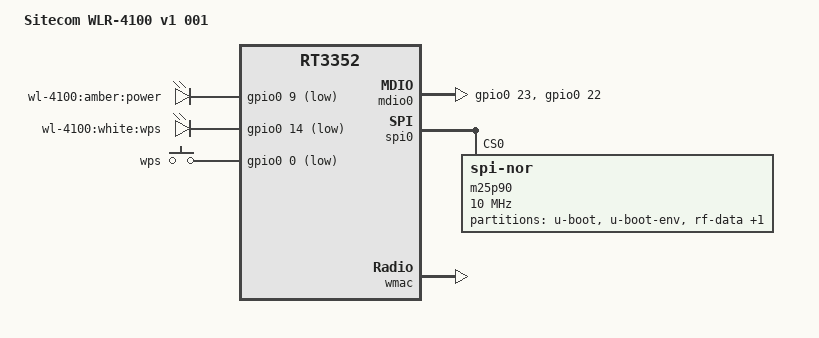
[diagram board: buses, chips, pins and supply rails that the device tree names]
/dts-v1/;

#include "rt3352.dtsi"

#include <dt-bindings/gpio/gpio.h>
#include <dt-bindings/input/input.h>

/ {
        compatible = "sitecom,wlr-4100-1001", "ralink,rt3352-soc";
        model = "Sitecom WLR-4100 v1 001";

        aliases {
                led-boot = &led_power;
                led-failsafe = &led_power;
                led-running = &led_power;
                led-upgrade = &led_power;
                mdio-gpio0 = &mdio0;
        };

        mdio0: mdio {
                compatible = "virtual,mdio-gpio";
                #address-cells = <1>;
                #size-cells = <0>;
                gpios = <&gpio0 23 GPIO_ACTIVE_HIGH &gpio0 22 GPIO_ACTIVE_HIGH>;
        };

        leds {
                compatible = "gpio-leds";

                led_power: power {
                        label = "wl-4100:amber:power";
                        gpios = <&gpio0 9 GPIO_ACTIVE_LOW>;
                };

                led_wps: wps {
                        label = "wl-4100:white:wps";
                        gpios = <&gpio0 14 GPIO_ACTIVE_LOW>;
                };
        };

        keys {
                compatible = "gpio-keys-polled";
                poll-interval = <20>;

                wps {
                        label = "wps";
                        gpios = <&gpio0 0 GPIO_ACTIVE_LOW>;
                        linux,code = <KEY_WPS_BUTTON>;
                };

        };

        rtl8367rb {
                compatible = "realtek,rtl8367b", "rtl8367b";
                mii-bus = <&mdio0>;
                realtek,extif1 = <0 0 1 1 1 1 1 1 2>;
                cpu_port = <6>;
        };
};

&spi0 {
        status = "okay";

        m25p90@0 {
                compatible = "jedec,spi-nor";
                reg = <0>;
                spi-max-frequency = <10000000>;

                partitions {
                        compatible = "fixed-partitions";
                        #address-cells = <1>;
                        #size-cells = <1>;

                        partition@0 {
                                label = "u-boot";
                                reg = <0x0 0x30000>;
                                read-only;
                        };

                        partition@30000 {
                                label = "u-boot-env";
                                reg = <0x30000 0x10000>;
                        };

                        factory: partition@40000 {
                                label = "rf-data";
                                reg = <0x40000 0x10000>;
                                read-only;
                        };

                        partition@50000 {
                                compatible = "denx,uimage";
                                label = "kernel";
                                reg = <0x50000 0x7b0000>;
                        };

                };
        };
};

&pinctrl {
        state_default: pinctrl0 {
                gpio {
                        ralink,group = "i2c", "jtag", "uartf", "mdio";
                        ralink,function = "gpio";
                };
        };
};

&ethernet {
        mtd-mac-address = <&factory 0x4>;
        pinctrl-names = "default";
        pinctrl-0 = <&rgmii_pins>;

        port@5 {
                phy-mode = "rgmii";
        };

};

&esw {
        ralink,rgmii = <1>;
        mediatek,portmap = <0x3f>;
        ralink,fct2 = <0x0002500c>;
        ralink,fpa2 = <0x1f103ffa>;
};

&wmac {
        ralink,mtd-eeprom = <&factory 0>;
};
